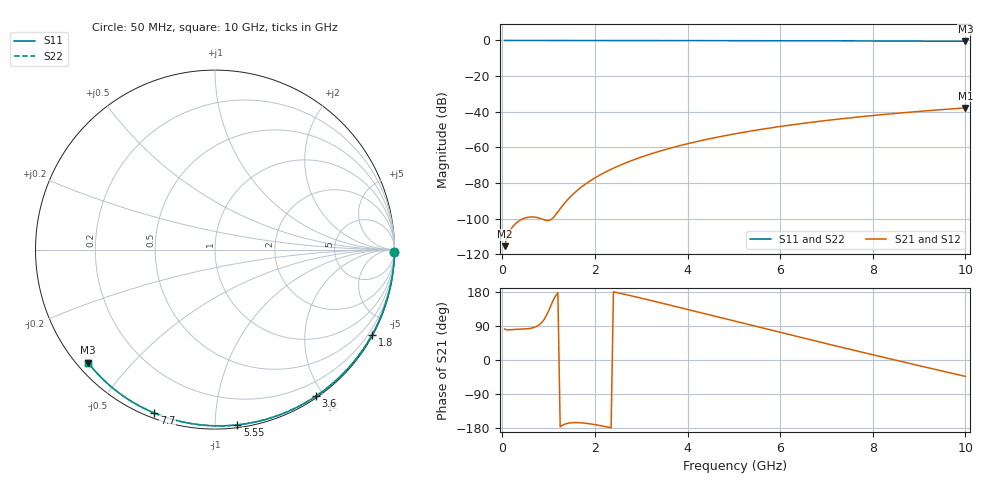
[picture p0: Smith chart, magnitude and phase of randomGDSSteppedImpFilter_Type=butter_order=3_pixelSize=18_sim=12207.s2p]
! freq	dB(S11)	phase(S11)	dB(S12)	phase(S12)
!  dB(S21)	phase(S21)	dB(S22)	phase(S22)
!S-par simulation data
#  GHz  S  DB  R 50
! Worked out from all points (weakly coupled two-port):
!   200 points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, 50 MHz to 10 GHz, reference 50 ohm
!   highest |S21| = -37.85 dB at 10 GHz (marker M1); lowest = -115.4 dB at 50 MHz (marker M2)
!   lowest |S11| = -0.5 dB at 10 GHz (marker M3), VSWR 36.97, Z = 1.55 - j19 ohm
!   |S11| at or under -10 dB: nowhere
!   |S22| runs from -0.5 to 0.0 dB; largest |S21 - S12| = 0
!   S11 on the Smith chart (normalised r, x): 50 MHz: open; 1.8 GHz: 0.03, -3.95; 3.6 GHz: 0.02, -1.90; 5.55 GHz: 0.02, -1.14; 7.7 GHz: 0.02, -0.69; 10 GHz: 0.03, -0.38
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0.05  -0.00 -0.8  -115.43 81.6  -115.43 81.6  -0.00 -0.8
0.45  -0.01 -7.2  -100.03 81.5  -100.03 81.5  -0.01 -7.2
0.9  -0.02 -14.3  -100.64 106.3  -100.64 106.3  -0.02 -14.3
1.75  -0.04 -27.6  -81.44 -166.3  -81.44 -166.3  -0.04 -27.6
1.8  -0.04 -28.4  -80.50 -166.9  -80.50 -166.9  -0.04 -28.4
1.85  -0.04 -29.1  -79.60 -167.7  -79.60 -167.7  -0.04 -29.2
2.05  -0.04 -32.2  -76.36 -171.6  -76.36 -171.6  -0.04 -32.2
2.25  -0.05 -35.3  -73.55 -176.3  -73.55 -176.3  -0.05 -35.3
2.55  -0.05 -39.8  -69.93 175.9  -69.93 175.9  -0.05 -39.8
2.95  -0.06 -45.9  -65.90 164.7  -65.90 164.7  -0.06 -45.9
3.4  -0.07 -52.5  -62.12 151.4  -62.12 151.4  -0.07 -52.5
3.6  -0.07 -55.4  -60.63 145.5  -60.63 145.5  -0.07 -55.4
3.9  -0.08 -59.8  -58.59 136.4  -58.59 136.4  -0.08 -59.8
4.3  -0.09 -65.5  -56.15 124.3  -56.15 124.3  -0.09 -65.5
5.05  -0.12 -75.9  -52.26 101.6  -52.26 101.6  -0.12 -75.9
5.55  -0.14 -82.7  -50.06 86.4  -50.06 86.4  -0.14 -82.7
6.1  -0.16 -90.0  -47.91 69.9  -47.91 69.9  -0.16 -90.0
6.7  -0.19 -97.8  -45.84 52.0  -45.84 52.0  -0.19 -97.8
7.7  -0.25 -110.4  -42.90 22.5  -42.90 22.5  -0.25 -110.4
8.35  -0.30 -118.4  -41.26 3.7  -41.26 3.7  -0.30 -118.4
9.2  -0.38 -128.7  -39.39 -20.6  -39.39 -20.6  -0.38 -128.7
10  -0.47 -138.4  -37.85 -43.2  -37.85 -43.2  -0.47 -138.4
